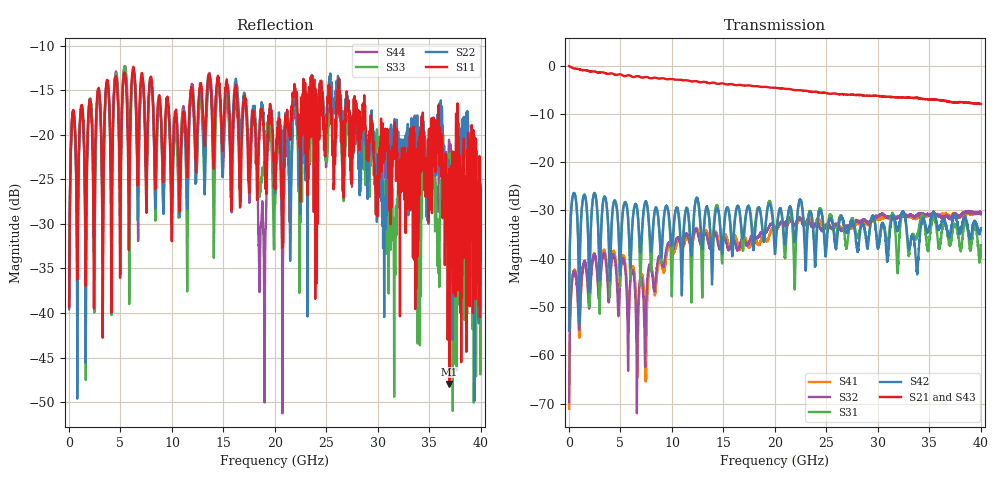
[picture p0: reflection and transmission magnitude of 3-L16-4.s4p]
! MS46524B
! 1918203/M1: 91020113/M2: 91020112
! 9/9/2020 2:28:19 PM
! C:\USERS\ANRITSUUSER\DESKTOP\2118 -5.S4P
! CHANNEL.1
! TR.MEASUREMENT
! CORRECTED.DATA
# GHZ S RI R 50.0
! FREQ.GHZ  S11RE  S11IM  S12RE  S12IM  S13RE  S13IM  S14RE  S14IM
!  S21RE  S21IM  S22RE  S22IM  S23RE  S23IM  S24RE  S24IM
!  S31RE  S31IM  S32RE  S32IM  S33RE  S33IM  S34RE  S34IM
!  S41RE  S41IM  S42RE  S42IM  S43RE  S43IM  S44RE  S44IM
!; PortSelection: Port_1234
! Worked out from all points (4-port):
!   4000 points, 10 MHz to 40 GHz, reference 50 ohm
!   strongest paths, dB at 10 MHz, 10.01 GHz, 20.01 GHz, 30.01 GHz, 40 GHz:
!     S21: -0.1, -2.8, -4.6, -6.3, -7.9
!     S43: -0.1, -2.7, -4.6, -6.5, -7.6
!     S42: -54.9, -37.2, -39.0, -37.7, -33.7
!     S31: -54.7, -45.7, -35.8, -37.5, -37.2
!     S32: -69.7, -37.9, -33.6, -31.2, -30.5
!     S41: -71.1, -38.4, -33.9, -31.7, -30.6
!   lowest |S11| = -48.0 dB at 36.95 GHz (marker M1), VSWR 1.01, Z = 50.3 + j0.215 ohm
!   |S11| at or under -10 dB: start of sweep to end of sweep
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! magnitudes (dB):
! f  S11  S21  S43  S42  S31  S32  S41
! 10 MHz  -39.3  -0.1  -0.1  -54.9  -54.7  -69.7  -71.1
! 410 MHz  -17.2  -0.5  -0.5  -26.6  -26.6  -43.2  -42.9
! 2.44 GHz  -35.3  -1.2  -1.2  -26.5  -26.5  -39.1  -39.1
! 6.61 GHz  -22.0  -2.2  -2.1  -29.5  -29.7  -66.0  -59.1
! 12.29 GHz  -22.5  -3.2  -3.2  -27.9  -28.1  -33.7  -33.9
! 36.95 GHz  -48.0  -7.5  -7.3  -35.4  -37.0  -31.4  -31.0
! 40 GHz  -26.0  -7.9  -7.6  -33.7  -37.2  -30.5  -30.6
